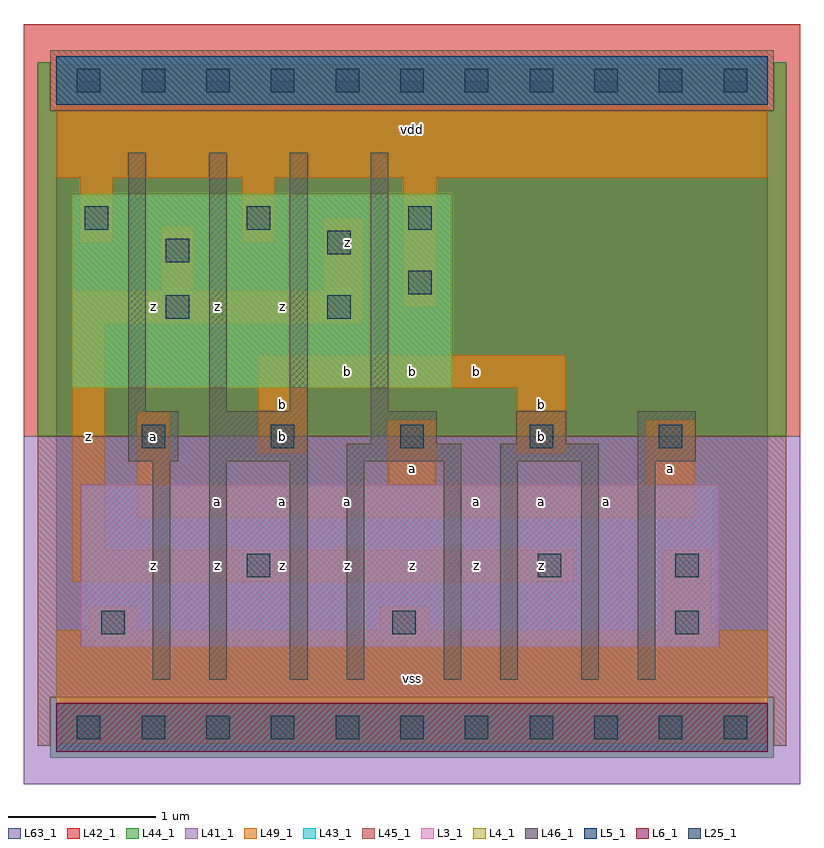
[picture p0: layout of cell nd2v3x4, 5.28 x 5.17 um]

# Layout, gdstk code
import gdstk
lib = gdstk.Library(unit=1e-6, precision=1e-09)
def R(c, l, rs):  # rectangles x0, y0, x1, y1
    for r in rs: c.add(gdstk.rectangle(r[:2], r[2:], *l))
def A(c, l, x, y, w, h, nx, ny, dx, dy):  # array of equal rectangles
    R(c, l, [(x+i*dx, y+j*dy, x+i*dx+w, y+j*dy+h) for i in range(nx) for j in range(ny)])
L3_1 = (3, 1)
L4_1 = (4, 1)
L5_1 = (5, 1)
L6_1 = (6, 1)
L25_1 = (25, 1)
L41_1 = (41, 1)
L42_1 = (42, 1)
L43_1 = (43, 1)
L44_1 = (44, 1)
L45_1 = (45, 1)
L46_1 = (46, 1)
L49_1 = (49, 1)
L63_1 = (63, 1)

nd2v3x4 = lib.new_cell('nd2v3x4')
R(nd2v3x4, L3_1, [(0.165,0.55,4.51,1.65)])
R(nd2v3x4, L4_1, [(0.11,2.31,2.695,3.63)])
R(nd2v3x4, L5_1, [(0,4.235,4.84,4.565)])
R(nd2v3x4, L6_1, [(0,-0.165,4.84,0.165)])
A(nd2v3x4, L25_1, 0.14, -0.08, 0.16, 0.16, 11, 2, 0.44, 4.4)
A(nd2v3x4, L25_1, 0.58, 1.9, 0.16, 0.16, 5, 1, 0.88, 0)
A(nd2v3x4, L25_1, 0.195, 3.385, 0.16, 0.16, 3, 1, 1.1, 0)
R(nd2v3x4, L25_1, [(0.305,0.635,0.465,0.795), (2.285,0.635,2.445,0.795), (4.21,0.635,4.37,0.795), (1.295,1.02,1.455,1.18), (3.275,1.02,3.435,1.18), (4.21,1.02,4.37,1.18), (0.745,2.78,0.905,2.94), (1.845,2.78,2.005,2.94), (2.395,2.945,2.555,3.105), (0.745,3.165,0.905,3.325), (1.845,3.22,2.005,3.38)])
R(nd2v3x4, L41_1, [(-0.22,-0.385,5.06,1.98)])
R(nd2v3x4, L42_1, [(-0.22,1.98,5.06,4.785)])
R(nd2v3x4, L43_1, [(0,-0.165,4.84,0.165), (0.165,0.55,4.51,1.65), (0.11,2.31,2.695,3.63), (0,4.235,4.84,4.565)])
R(nd2v3x4, L44_1, [(-0.04,-0.205,4.88,0.205), (-0.125,1.98,4.965,4.195), (-0.125,4.195,-0.04,4.525), (4.88,4.195,4.965,4.525)])
R(nd2v3x4, L45_1, [(-0.125,-0.125,-0.04,0.205), (4.88,-0.125,4.965,0.205), (-0.125,0.205,4.965,1.98), (-0.04,4.195,4.88,4.605)])
A(nd2v3x4, L46_1, 0.49, 2.15, 0.12, 1.76, 4, 1, 0.55, 0)
R(nd2v3x4, L46_1, [(0.655,0.325,0.775,1.81), (1.04,0.325,1.16,1.81), (1.59,0.325,1.71,1.81), (1.975,0.325,2.095,1.81), (2.635,0.325,2.755,1.81), (3.02,0.325,3.14,1.81), (3.57,0.325,3.69,1.81), (3.955,0.325,4.075,1.81), (0.49,1.81,0.83,2.15), (1.04,1.81,1.71,2.15), (1.975,1.81,2.755,1.93), (3.02,1.81,3.69,1.93), (3.955,1.81,4.35,2.15), (2.14,1.93,2.59,2.15), (3.13,1.93,3.47,2.15)])
R(nd2v3x4, L49_1, [(0,-0.11,4.84,0.66), (0.22,0.66,0.55,0.825), (2.2,0.66,2.53,0.825), (4.125,0.66,4.455,1.21), (0.11,0.99,3.52,1.21), (0.11,1.21,0.33,2.75), (0.55,1.43,4.345,1.65), (0.55,1.65,0.77,2.145), (2.255,1.65,2.585,2.09), (4.015,1.65,4.345,2.09), (1.375,1.87,1.705,2.31), (3.135,1.87,3.465,2.31), (1.375,2.31,3.465,2.53), (0.11,2.75,2.09,2.97), (2.365,2.86,2.585,3.74), (0.715,2.97,0.935,3.41), (1.815,2.97,2.09,3.465), (0.165,3.3,0.385,3.74), (1.265,3.3,1.485,3.74), (0,3.74,4.84,4.51)])
R(nd2v3x4, L63_1, [(0,0,4.84,4.4)])
nd2v3x4.add(gdstk.Label('z', (0.66,1.1), layer=49, texttype=1))
nd2v3x4.add(gdstk.Label('a', (0.66,1.98), layer=49, texttype=1))
nd2v3x4.add(gdstk.Label('z', (0.22,1.98), layer=49, texttype=1))
nd2v3x4.add(gdstk.Label('z', (0.66,2.86), layer=49, texttype=1))
nd2v3x4.add(gdstk.Label('z', (1.1,1.1), layer=49, texttype=1))
nd2v3x4.add(gdstk.Label('a', (1.1,1.54), layer=49, texttype=1))
nd2v3x4.add(gdstk.Label('z', (1.54,1.1), layer=49, texttype=1))
nd2v3x4.add(gdstk.Label('a', (1.54,1.54), layer=49, texttype=1))
nd2v3x4.add(gdstk.Label('b', (1.54,1.98), layer=49, texttype=1))
nd2v3x4.add(gdstk.Label('b', (1.54,2.2), layer=49, texttype=1))
nd2v3x4.add(gdstk.Label('z', (1.1,2.86), layer=49, texttype=1))
nd2v3x4.add(gdstk.Label('z', (1.54,2.86), layer=49, texttype=1))
nd2v3x4.add(gdstk.Label('vss', (2.42,0.33), layer=49, texttype=1))
nd2v3x4.add(gdstk.Label('z', (1.98,1.1), layer=49, texttype=1))
nd2v3x4.add(gdstk.Label('a', (1.98,1.54), layer=49, texttype=1))
nd2v3x4.add(gdstk.Label('z', (2.42,1.1), layer=49, texttype=1))
nd2v3x4.add(gdstk.Label('a', (2.42,1.76), layer=49, texttype=1))
nd2v3x4.add(gdstk.Label('b', (1.98,2.42), layer=49, texttype=1))
nd2v3x4.add(gdstk.Label('b', (2.42,2.42), layer=49, texttype=1))
nd2v3x4.add(gdstk.Label('z', (1.98,3.3), layer=49, texttype=1))
nd2v3x4.add(gdstk.Label('vdd', (2.42,4.07), layer=49, texttype=1))
nd2v3x4.add(gdstk.Label('z', (2.86,1.1), layer=49, texttype=1))
nd2v3x4.add(gdstk.Label('a', (2.86,1.54), layer=49, texttype=1))
nd2v3x4.add(gdstk.Label('z', (3.3,1.1), layer=49, texttype=1))
nd2v3x4.add(gdstk.Label('a', (3.3,1.54), layer=49, texttype=1))
nd2v3x4.add(gdstk.Label('a', (3.74,1.54), layer=49, texttype=1))
nd2v3x4.add(gdstk.Label('b', (2.86,2.42), layer=49, texttype=1))
nd2v3x4.add(gdstk.Label('b', (3.3,1.98), layer=49, texttype=1))
nd2v3x4.add(gdstk.Label('b', (3.3,2.2), layer=49, texttype=1))
nd2v3x4.add(gdstk.Label('a', (4.18,1.76), layer=49, texttype=1))

lib.write_gds('nd2v3x4.gds')
